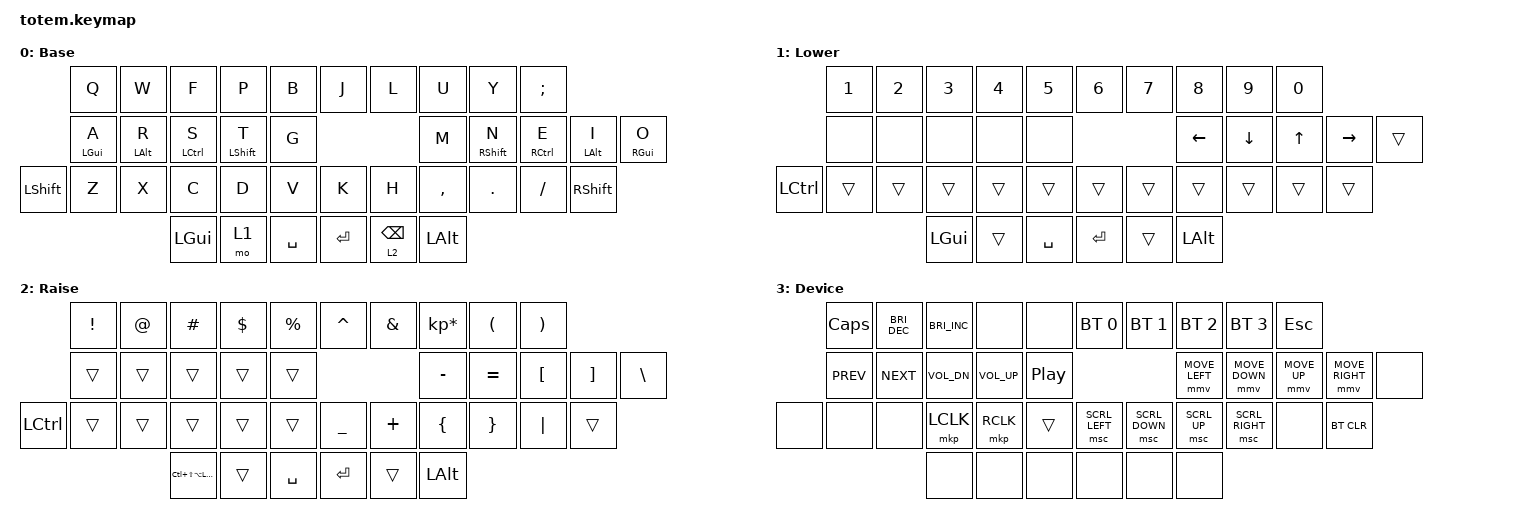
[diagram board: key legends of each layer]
//
//                                                        ▀▀▀▀▀     ▀▀▀▀▀          ▀▀█▀▀
//                                                        ▄▀▀▀▄  ▄  ▄▀▀▀▄  ▄  ▄▀▀▀▄  █  ▄▀▀▀▄
//                                                        █   █  █  █   █  █  █   █  █  █   █
//                                                         ▀▀▀   █   ▀▀▀   █   ▀▀▀   ▀   ▀▀▀
//                                                               █      ▄▄▄█▄▄▄    █   █  
//                                                               ▀      █  █  █     █▄█
//                                                             ▀▀▀▀▀    █  █  █      ▀
//                                                                      ▀  ▀  ▀
//
// ▄▄▄▄▄▄▄▄▄▄▄▄▄▄▄▄▄▄▄▄▄▄▄▄▄▄▄▄▄▄▄▄▄▄▄▄▄▄▄▄▄▄▄▄▄▄▄▄▄▄▄▄▄▄▄▄▄▄▄▄▄▄▄▄▄▄▄▄▄▄▄▄▄▄▄▄▄▄▄▄▄▄▄▄▄▄▄▄▄▄▄▄▄▄▄▄▄▄▄▄▄▄▄▄▄▄▄▄▄▄▄▄▄▄▄▄▄▄▄▄▄▄▄▄▄▄▄▄▄▄▄▄▄▄▄▄▄▄▄▄▄▄▄▄▄▄▄▄▄

#define ZMK_POINTING_DEFAULT_MOVE_VAL 1500  // default: 600
#define ZMK_POINTING_DEFAULT_SCRL_VAL 20    // default: 10

#include <behaviors.dtsi>
#include <dt-bindings/zmk/bt.h>
#include <dt-bindings/zmk/keys.h>
#include <dt-bindings/zmk/pointing.h>

/ {
    combos {
        compatible = "zmk,combos";

        combo_sqt {
            timeout-ms = <50>;
            key-positions = <28 29>;
            bindings = <&kp SQT>;
        };

        combo_grave {
            timeout-ms = <50>;
            key-positions = <8 7>;
            bindings = <&kp GRAVE>;
        };

        combo_tab {
            timeout-ms = <50>;
            key-positions = <0 1>;
            bindings = <&kp TAB>;
        };

        combo_delete {
            timeout-ms = <50>;
            key-positions = <8 9>;
            bindings = <&kp DELETE>;
        };
    };

    behaviors {
        HMR: HMR {
            compatible = "zmk,behavior-hold-tap";
            label = "HMR";
            bindings = <&kp>, <&kp>;

            #binding-cells = <2>;
            tapping-term-ms = <220>;
            quick-tap-ms = <125>;
            require-prior-idle-ms = <90>;
            flavor = "balanced";
            hold-trigger-on-release;
            hold-trigger-key-positions = <0 1 2 3 4 10 11 12 13 14 20 21 22 23 24 25 32 33 34>;
        };

        HML: HML {
            compatible = "zmk,behavior-hold-tap";
            label = "HML";
            bindings = <&kp>, <&kp>;

            #binding-cells = <2>;
            tapping-term-ms = <220>;
            quick-tap-ms = <125>;
            require-prior-idle-ms = <90>;
            flavor = "balanced";
            hold-trigger-on-release;
            hold-trigger-key-positions = <5 6 7 8 9 15 16 17 18 19 26 27 28 29 30 31 35 36 37>;
        };

        HMShiftR: HMShiftR {
            compatible = "zmk,behavior-hold-tap";
            label = "HMSR";
            bindings = <&kp>, <&kp>;

            #binding-cells = <2>;
            tapping-term-ms = <190>;
            quick-tap-ms = <100>;
            require-prior-idle-ms = <60>;
            flavor = "balanced";
            hold-trigger-on-release;
            hold-trigger-key-positions = <0 1 2 3 4 10 11 12 13 14 20 21 22 23 24 25 32 33 34>;
        };

        HMShiftL: HMShiftL {
            compatible = "zmk,behavior-hold-tap";
            label = "HMSL";
            bindings = <&kp>, <&kp>;

            #binding-cells = <2>;
            tapping-term-ms = <190>;
            quick-tap-ms = <100>;
            require-prior-idle-ms = <60>;
            flavor = "balanced";
            hold-trigger-on-release;
            hold-trigger-key-positions = <5 6 7 8 9 15 16 17 18 19 26 27 28 29 30 31 35 36 37>;
        };

        CustomLT: CustomLT {
            compatible = "zmk,behavior-hold-tap";
            label = "CUSTOMLT";
            bindings = <&mo>, <&kp>;

            #binding-cells = <2>;
            tapping-term-ms = <150>;
            flavor = "tap-preferred";
            quick-tap-ms = <75>;
            hold-while-undecided;
            hold-trigger-on-release;
        };
    };

    keymap {
        compatible = "zmk,keymap";

        default_layer {
            // -----------------------------------------------------------------------------------------
            // |  Q  |  W  |    F    |    P    |  B  |   |  J  |    L    |    U    |  Y  |  ;  |
            // |GUI/A|ALT/R|CTRL/S   |SHFT/T   |  G  |   |  M  |SHFT/N   |CTRL/E   |ALT/I|GUI/O|
            // |  Z  |  X  |    C    |    D    |  V  |   |  K  |    H    |    ,    |  .  |  /  |
            //             |   GUI   |   LWR   | SPC |   | ENT | RSE/BSPC|   ALT   |

            display-name = "Base";
            bindings = <
                &kp Q  &kp W  &kp F         &kp P         &kp B        &kp J    &kp L             &kp U         &kp Y    &kp SEMICOLON
                &HML LGUI A  &HML LALT R  &HML LCTRL S  &HMShiftL LSHFT T  &kp G        &kp M    &HMShiftR RSHFT N      &HMR RCTRL E  &HMR LALT I  &HMR RGUI O
&kp LEFT_SHIFT  &kp Z  &kp X  &kp C         &kp D         &kp V        &kp K    &kp H             &kp COMMA     &kp DOT  &kp FSLH       &kp RIGHT_SHIFT
                              &kp LGUI      &mo 1         &kp SPACE    &kp RET  &CustomLT 2 BSPC  &kp LALT
            >;
        };

        lower_layer {
            // -----------------------------------------------------------------------------------------
            // |  1  |  2  |  3  |  4  |  5  |   |  6  |  7  |  8  |  9  |  0  |
            // | PREV| NEXT| VOLDN| VOLUP| PLAY|   | LFT | DWN |  UP | RGT |     |
            // |     |     |     |     |     |   |     |     |     |     |     |
            //             | GUI |     | SPC |   | ENT |     | ALT |

            display-name = "Lower";
            bindings = <
           &kp N1  &kp N2  &kp N3    &kp N4  &kp N5       &kp N6    &kp N7    &kp N8    &kp N9     &kp N0
           &none   &none   &none     &none   &none        &kp LEFT  &kp DOWN  &kp UP    &kp RIGHT  &trans
&kp LCTRL  &trans  &trans  &trans    &trans  &trans       &trans    &trans    &trans    &trans     &trans  &trans
                           &kp LGUI  &trans  &kp SPACE    &kp RET   &trans    &kp LALT
            >;
        };

        raise_layer {
            // -----------------------------------------------------------------------------------------
            // |  !  |  @  |  #  |  $  |  %  |   |  ^  |  &  |  *  |  (  |  )  |
            // | CAPS|     |     |     |     |   |  -  |  =  |  [  |  ]  |  \  |
            // |     |     |     |     |     |   |  _  |  +  |  {  |  }  |  |  |
            //             | HYPR|     | SPC |   | ENT |     | ALT |

            display-name = "Raise";
            bindings = <
           &kp EXCL  &kp AT  &kp HASH              &kp DLLR  &kp PRCNT    &kp CARET  &kp AMPS   &kp KP_MULTIPLY  &kp LPAR  &kp RPAR
           &trans    &trans  &trans                &trans    &trans       &kp MINUS  &kp EQUAL  &kp LBKT         &kp RBKT  &kp BSLH
&kp LCTRL  &trans    &trans  &trans                &trans    &trans       &kp UNDER  &kp PLUS   &kp LBRC         &kp RBRC  &kp PIPE  &trans
                             &kp LC(LS(LA(LGUI)))  &trans    &kp SPACE    &kp RET    &trans     &kp LALT
            >;
        };

        device {
            // -----------------------------------------------------------------------------------------
            // | ESC |BRTDN|BRTUP|     |     |   | BT0 | BT1 | BT2 | BT3 | BT4 |
            // |     |     |     |     |     |   |     |     |     |     |     |
            // |     |     |     |     |     |   |     |     |     |     |     |
            //             |     |     |     |   |     |     |     |

            display-name = "Device";
            bindings = <
       &kp CAPSLOCK  &kp C_BRIGHTNESS_DEC  &kp C_BRIGHTNESS_INC  &none         &none       &bt BT_SEL 0    &bt BT_SEL 1    &bt BT_SEL 2  &bt BT_SEL 3     &kp ESC
       &kp C_PREV    &kp C_NEXT            &kp C_VOL_DN          &kp C_VOL_UP  &kp C_PP    &mmv MOVE_LEFT  &mmv MOVE_DOWN  &mmv MOVE_UP  &mmv MOVE_RIGHT  &none
&none  &none         &none                 &mkp LCLK             &mkp RCLK     &trans      &msc SCRL_LEFT  &msc SCRL_DOWN  &msc SCRL_UP  &msc SCRL_RIGHT  &none    &bt BT_CLR
                                           &none                 &none         &none       &none           &none           &none
            >;
        };

        extra_1 { status = "reserved"; };

        extra_2 { status = "reserved"; };

        extra_3 { status = "reserved"; };
    };

    conditional_layers {
        compatible = "zmk,conditional-layers";

        device {
            if-layers = <1 2>;
            then-layer = <3>;
        };
    };
};
